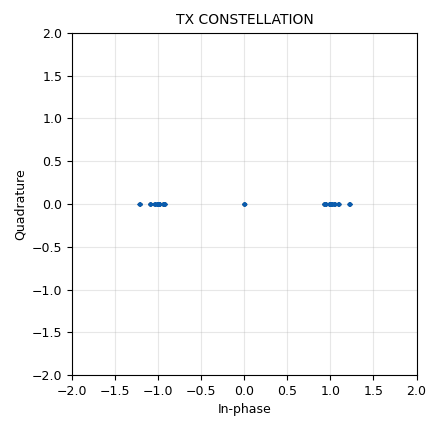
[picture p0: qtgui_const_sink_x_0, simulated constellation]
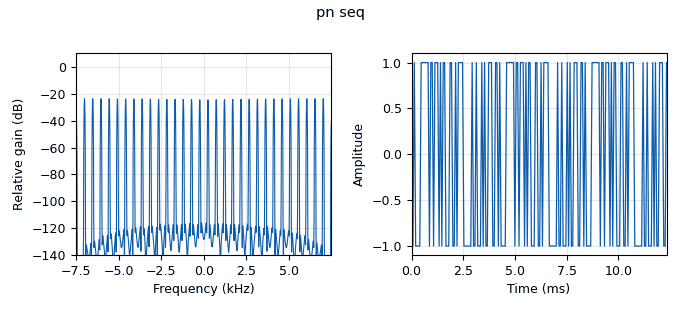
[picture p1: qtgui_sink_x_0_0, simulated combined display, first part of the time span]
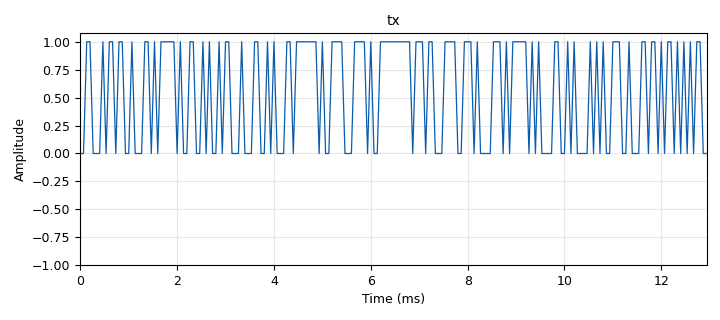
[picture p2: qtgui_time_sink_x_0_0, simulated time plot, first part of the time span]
options:
  parameters:
    generate_options: qt_gui
    id: xxx
    output_language: python
    title: DSSS_Block
  states: {}

blocks:
- name: samp_rate
  id: variable
  parameters:
    value: '15000'
  states: {}
- name: variable_constellation_0
  id: variable_constellation
  parameters:
    precision: '8'
    type: bpsk
  states: {}
- name: variable_constellation_0_0
  id: variable_constellation
  parameters:
    precision: '8'
    type: bpsk
  states: {}
- name: analog_random_source_x_0
  id: analog_random_source_x
  parameters:
    max: '2'
    min: '0'
    num_samps: '1000'
    repeat: 'True'
    type: byte
  states: {state: disabled}
- name: analog_random_source_x_1
  id: analog_random_source_x
  parameters:
    max: '2'
    min: '0'
    num_samps: '1000'
    repeat: 'True'
    type: byte
  states: {}
- name: analog_sig_source_x_0
  id: analog_sig_source_x
  parameters:
    amp: '1'
    freq: '1000'
    offset: '0'
    phase: '0'
    samp_rate: samp_rate
    type: byte
    waveform: analog.GR_SQR_WAVE
  states: {state: disabled}
- name: blocks_char_to_float_0_0
  id: blocks_char_to_float
  parameters:
    scale: '1'
  states: {}
- name: blocks_complex_to_float_0_0
  id: blocks_complex_to_float
  parameters: {}
  states: {}
- name: blocks_complex_to_float_0_1
  id: blocks_complex_to_float
  parameters: {}
  states: {}
- name: blocks_delay_0_0
  id: blocks_delay
  parameters:
    delay: '1000'
    type: complex
  states: {}
- name: blocks_float_to_complex_0_0
  id: blocks_float_to_complex
  parameters: {}
  states: {}
- name: blocks_float_to_complex_1
  id: blocks_float_to_complex
  parameters: {}
  states: {}
- name: blocks_float_to_int_0_0_0
  id: blocks_float_to_int
  parameters:
    scale: '1'
  states: {}
- name: blocks_float_to_int_0_1_0
  id: blocks_float_to_int
  parameters:
    scale: '1'
  states: {}
- name: blocks_float_to_int_0_2_0
  id: blocks_float_to_int
  parameters:
    scale: '1'
  states: {}
- name: blocks_float_to_int_0_3
  id: blocks_float_to_int
  parameters:
    scale: '1'
  states: {}
- name: blocks_int_to_float_0_0_0
  id: blocks_int_to_float
  parameters:
    scale: '1'
  states: {}
- name: blocks_int_to_float_0_1
  id: blocks_int_to_float
  parameters:
    scale: '1'
  states: {}
- name: blocks_interleaved_char_to_complex_0
  id: blocks_interleaved_char_to_complex
  parameters:
    scale_factor: '1.0'
    vector_input: 'False'
  states: {}
- name: blocks_xor_xx_0_0_0_0_0
  id: blocks_xor_xx
  parameters:
    type: int
  states: {}
- name: blocks_xor_xx_0_0_0_1
  id: blocks_xor_xx
  parameters:
    type: int
  states: {}
- name: digital_constellation_decoder_cb_0
  id: digital_constellation_decoder_cb
  parameters:
    constellation: variable_constellation_0
  states: {}
- name: digital_constellation_encoder_bc_0
  id: digital_constellation_encoder_bc
  parameters:
    constellation: variable_constellation_0
  states: {state: disabled}
- name: digital_constellation_modulator_0
  id: digital_constellation_modulator
  parameters:
    constellation: variable_constellation_0
    differential: 'True'
    excess_bw: '0.35'
    samples_per_symbol: '2'
  states: {state: disabled}
- name: digital_constellation_modulator_1
  id: digital_constellation_modulator
  parameters:
    constellation: variable_constellation_0
    differential: 'True'
    excess_bw: '0.35'
    samples_per_symbol: '2'
  states: {}
- name: digital_glfsr_source_x_0_0_0
  id: digital_glfsr_source_x
  parameters:
    degree: '8'
    mask: '100'
    repeat: 'True'
    seed: '1'
    type: float
  states: {}
- name: digital_glfsr_source_x_0_1
  id: digital_glfsr_source_x
  parameters:
    degree: '8'
    mask: '100'
    repeat: 'True'
    seed: '1'
    type: float
  states: {}
- name: osmosdr_sink_0
  id: osmosdr_sink
  parameters:
    args: '"hackrf=0"'
    bb_gain0: '20'
    freq0: 700e6
    gain0: '10'
    if_gain0: '20'
    sample_rate: '150000'
    sync: pc_clock
    type: fc32
  states: {}
- name: osmosdr_source_0
  id: osmosdr_source
  parameters:
    args: '"rtl=0"'
    bb_gain0: '20'
    freq0: 700e6
    gain0: '10'
    gain_mode0: 'False'
    if_gain0: '20'
    sample_rate: samp_rate
    sync: pc_clock
    type: fc32
  states: {}
- name: qtgui_const_sink_x_0
  id: qtgui_const_sink_x
  parameters:
    name: '"TX CONSTELLATION"'
    size: '1024'
    type: complex
  states: {}
- name: qtgui_const_sink_x_0_0
  id: qtgui_const_sink_x
  parameters:
    autoscale: 'True'
    name: '"RECIEVER CONSTELLATION"'
    size: '1024'
    type: complex
  states: {}
- name: qtgui_number_sink_0
  id: qtgui_number_sink
  parameters:
    autoscale: 'True'
    graph_type: qtgui.NUM_GRAPH_HORIZ
    type: byte
  states: {}
- name: qtgui_sink_x_0_0
  id: qtgui_sink_x
  parameters:
    bw: samp_rate
    fc: '0'
    fftsize: '1024'
    name: '"pn seq"'
    type: float
  states: {}
- name: qtgui_time_sink_x_0
  id: qtgui_time_sink_x
  parameters:
    autoscale: 'True'
    name: '"rx"'
    size: '1024'
    srate: samp_rate
    type: complex
  states: {}
- name: qtgui_time_sink_x_0_0
  id: qtgui_time_sink_x
  parameters:
    name: '"tx"'
    size: '1024'
    srate: samp_rate
    type: float
  states: {}

connections:
- [analog_random_source_x_0, '0', blocks_char_to_float_0_0, '0']
- [analog_random_source_x_0, '0', digital_constellation_encoder_bc_0, '0']
- [analog_random_source_x_0, '0', digital_constellation_modulator_0, '0']
- [analog_random_source_x_1, '0', blocks_char_to_float_0_0, '0']
- [analog_random_source_x_1, '0', digital_constellation_modulator_1, '0']
- [analog_sig_source_x_0, '0', blocks_char_to_float_0_0, '0']
- [analog_sig_source_x_0, '0', digital_constellation_encoder_bc_0, '0']
- [blocks_char_to_float_0_0, '0', qtgui_time_sink_x_0_0, '0']
- [blocks_complex_to_float_0_0, '0', blocks_float_to_int_0_3, '0']
- [blocks_complex_to_float_0_1, '0', blocks_float_to_int_0_1_0, '0']
- [blocks_delay_0_0, '0', blocks_complex_to_float_0_1, '0']
- [blocks_float_to_complex_0_0, '0', osmosdr_sink_0, '0']
- [blocks_float_to_complex_1, '0', digital_constellation_decoder_cb_0, '0']
- [blocks_float_to_complex_1, '0', qtgui_const_sink_x_0_0, '0']
- [blocks_float_to_int_0_0_0, '0', blocks_xor_xx_0_0_0_1, '1']
- [blocks_float_to_int_0_1_0, '0', blocks_xor_xx_0_0_0_0_0, '0']
- [blocks_float_to_int_0_2_0, '0', blocks_xor_xx_0_0_0_0_0, '1']
- [blocks_float_to_int_0_3, '0', blocks_xor_xx_0_0_0_1, '0']
- [blocks_int_to_float_0_0_0, '0', blocks_float_to_complex_1, '0']
- [blocks_int_to_float_0_1, '0', blocks_float_to_complex_0_0, '0']
- [blocks_interleaved_char_to_complex_0, '0', qtgui_time_sink_x_0, '0']
- [blocks_xor_xx_0_0_0_0_0, '0', blocks_int_to_float_0_0_0, '0']
- [blocks_xor_xx_0_0_0_1, '0', blocks_int_to_float_0_1, '0']
- [digital_constellation_decoder_cb_0, '0', blocks_interleaved_char_to_complex_0, '0']
- [digital_constellation_decoder_cb_0, '0', qtgui_number_sink_0, '0']
- [digital_constellation_encoder_bc_0, '0', blocks_complex_to_float_0_0, '0']
- [digital_constellation_encoder_bc_0, '0', qtgui_const_sink_x_0, '0']
- [digital_constellation_modulator_0, '0', blocks_complex_to_float_0_0, '0']
- [digital_constellation_modulator_0, '0', qtgui_const_sink_x_0, '0']
- [digital_constellation_modulator_1, '0', blocks_complex_to_float_0_0, '0']
- [digital_constellation_modulator_1, '0', qtgui_const_sink_x_0, '0']
- [digital_glfsr_source_x_0_0_0, '0', blocks_float_to_int_0_2_0, '0']
- [digital_glfsr_source_x_0_1, '0', blocks_float_to_int_0_0_0, '0']
- [digital_glfsr_source_x_0_1, '0', qtgui_sink_x_0_0, '0']
- [osmosdr_source_0, '0', blocks_delay_0_0, '0']

metadata:
  file_format: 1
  grc_version: 3.10.4.0
